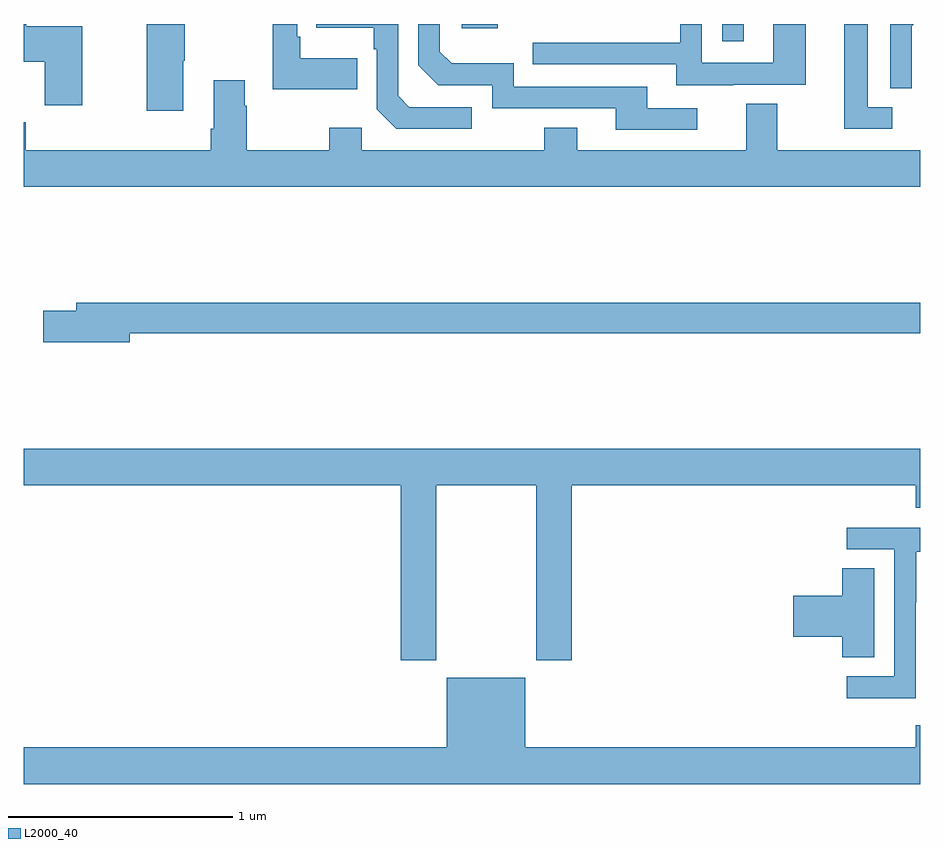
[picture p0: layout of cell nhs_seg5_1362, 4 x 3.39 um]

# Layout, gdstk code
import gdstk
lib = gdstk.Library(unit=1e-6, precision=1e-09)
def R(c, l, rs):  # rectangles x0, y0, x1, y1
    for r in rs: c.add(gdstk.rectangle(r[:2], r[2:], *l))
def P(c, l, *ps):  # polygons
    for p in ps: c.add(gdstk.Polygon(p, *l))
L2000_40 = (2000, 40)

nhs_seg5_1362 = lib.new_cell('nhs_seg5_1362')
R(nhs_seg5_1362, L2000_40, [(196.116,878.721,196.213,878.799), (194.955,878.78,195.116,878.799)])
P(nhs_seg5_1362, L2000_40, [(196.962,878.666),(196.961,878.666),(196.961,878.789),(196.971,878.799),(196.866,878.799),(196.866,878.512),(196.962,878.512)],
  [(194.998,878.427),(194.721,878.427),(194.67,878.478),(194.67,878.799),(194.305,878.799),(194.305,878.783),(194.562,878.783),(194.562,878.687),(194.574,878.687),(194.574,878.418),(194.661,878.331),(194.998,878.331)],
  [(196.165,878.529),(196.489,878.529),(196.489,878.799),(196.344,878.799),(196.344,878.625),(196.026,878.625),(196.026,878.799),(195.93,878.799),(195.93,878.715),(195.271,878.715),(195.271,878.619),(195.911,878.619),(195.911,878.525),(196.165,878.525)],
  [(194.489,878.647),(194.233,878.647),(194.233,878.743),(194.22,878.743),(194.22,878.799),(194.112,878.799),(194.112,878.507),(194.489,878.507)],
  [(193.26,878.788),(193.012,878.788),(193.012,878.799),(193,878.799),(193,878.63),(193.094,878.63),(193.094,878.436),(193.26,878.436)],
  [(196.876,878.427),(196.765,878.427),(196.765,878.799),(196.661,878.799),(196.661,878.331),(196.876,878.331)],
  [(193.711,878.635),(193.719,878.635),(193.719,878.799),(193.549,878.799),(193.549,878.412),(193.711,878.412)],
  [(196.006,878.424),(195.781,878.424),(195.781,878.52),(195.186,878.52),(195.186,878.623),(194.909,878.623),(194.856,878.676),(194.856,878.799),(194.76,878.799),(194.76,878.616),(194.85,878.526),(195.09,878.526),(195.09,878.424),(195.641,878.424),(195.641,878.328),(196.006,878.328)],
  [(197,878.236),(196.363,878.236),(196.363,878.444),(196.223,878.444),(196.223,878.236),(195.469,878.236),(195.469,878.335),(195.322,878.335),(195.322,878.236),(194.508,878.236),(194.508,878.335),(194.362,878.335),(194.362,878.236),(193.995,878.236),(193.995,878.435),(193.987,878.435),(193.987,878.548),(193.847,878.548),(193.847,878.332),(193.835,878.332),(193.835,878.236),(193.01,878.236),(193.01,878.36),(193,878.36),(193,878.072),(197,878.072)],
  [(193.474,877.42),(197,877.42),(197,877.556),(193.235,877.556),(193.235,877.52),(193.086,877.52),(193.086,877.378),(193.474,877.378)],
  [(194.841,876.74),(195.286,876.74),(195.286,875.961),(195.446,875.961),(195.446,876.74),(196.979,876.74),(196.979,876.641),(197,876.641),(197,876.904),(193,876.904),(193,876.74),(194.681,876.74),(194.681,875.961),(194.841,875.961)],
  [(196.98,876.22),(196.983,876.22),(196.983,876.444),(197,876.444),(197,876.552),(196.671,876.552),(196.671,876.456),(196.884,876.456),(196.884,875.889),(196.671,875.889),(196.671,875.791),(196.98,875.791)],
  [(196.795,876.371),(196.652,876.371),(196.652,876.248),(196.434,876.248),(196.434,876.065),(196.652,876.065),(196.652,875.974),(196.795,875.974)],
  [(197,875.671),(196.979,875.671),(196.979,875.572),(195.238,875.572),(195.238,875.881),(194.888,875.881),(194.888,875.572),(193,875.572),(193,875.408),(197,875.408)])

lib.write_gds('nhs_seg5_1362.gds')
